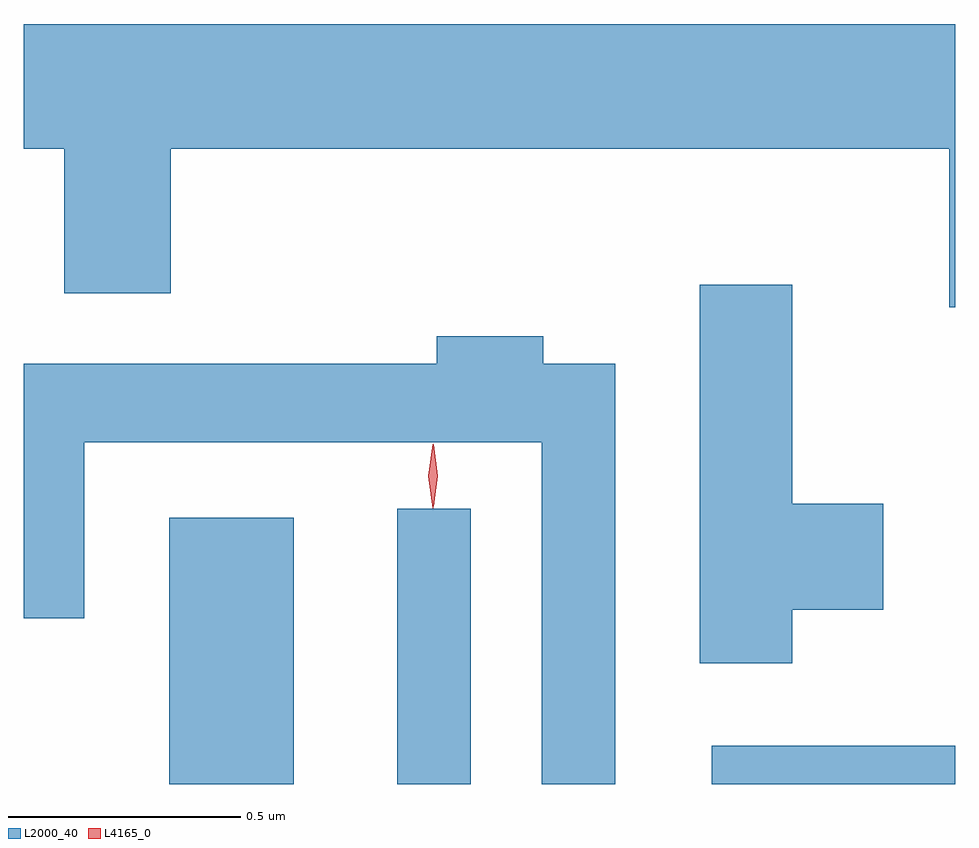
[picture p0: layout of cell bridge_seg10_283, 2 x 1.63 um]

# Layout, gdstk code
import gdstk
lib = gdstk.Library(unit=1e-6, precision=1e-09)
def R(c, l, rs):  # rectangles x0, y0, x1, y1
    for r in rs: c.add(gdstk.rectangle(r[:2], r[2:], *l))
def P(c, l, *ps):  # polygons
    for p in ps: c.add(gdstk.Polygon(p, *l))
L2000_40 = (2000, 40)
L4165_0 = (4165, 0)

bridge_seg10_283 = lib.new_cell('bridge_seg10_283')
R(bridge_seg10_283, L2000_40, [(1822.916,2101.452,1823.184,2102.024), (1823.406,2101.452,1823.564,2102.043), (1824.081,2101.452,1824.604,2101.534)])
P(bridge_seg10_283, L2000_40, [(1824.604,2103.084),(1822.604,2103.084),(1822.604,2102.816),(1822.691,2102.816),(1822.691,2102.506),(1822.919,2102.506),(1822.919,2102.816),(1824.591,2102.816),(1824.591,2102.476),(1824.604,2102.476)],
  [(1824.254,2101.826),(1824.449,2101.826),(1824.449,2102.054),(1824.254,2102.054),(1824.254,2102.524),(1824.056,2102.524),(1824.056,2101.711),(1824.254,2101.711)],
  [(1823.874,2102.354),(1823.719,2102.354),(1823.719,2102.414),(1823.491,2102.414),(1823.491,2102.354),(1822.604,2102.354),(1822.604,2101.808),(1822.734,2101.808),(1822.734,2102.186),(1823.716,2102.186),(1823.716,2101.452),(1823.874,2101.452)])
P(bridge_seg10_283, L4165_0, [(1823.483,2102.047),(1823.483,2102.048),(1823.473,2102.114),(1823.483,2102.18),(1823.483,2102.181),(1823.484,2102.18),(1823.493,2102.114),(1823.484,2102.048)],
  [(1823.482,2102.044),(1823.473,2102.113),(1823.482,2102.182),(1823.483,2102.183),(1823.483,2102.182),(1823.493,2102.113),(1823.483,2102.044),(1823.483,2102.044)])

lib.write_gds('bridge_seg10_283.gds')
